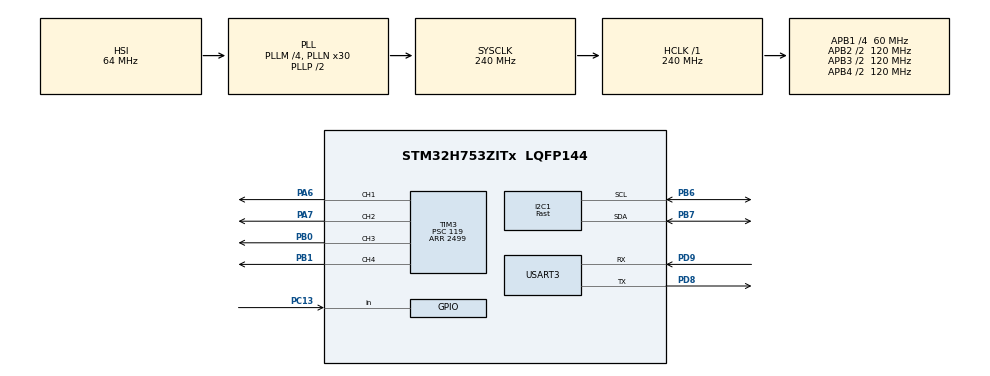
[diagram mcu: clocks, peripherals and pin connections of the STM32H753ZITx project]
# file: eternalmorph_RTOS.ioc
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CORTEX_M7.default_mode_Activation=1
Dma.I2C1_RX.0.Direction=DMA_PERIPH_TO_MEMORY
Dma.I2C1_RX.0.EventEnable=DISABLE
Dma.I2C1_RX.0.FIFOMode=DMA_FIFOMODE_DISABLE
Dma.I2C1_RX.0.Instance=DMA1_Stream0
Dma.I2C1_RX.0.MemDataAlignment=DMA_MDATAALIGN_BYTE
Dma.I2C1_RX.0.MemInc=DMA_MINC_ENABLE
Dma.I2C1_RX.0.Mode=DMA_NORMAL
Dma.I2C1_RX.0.PeriphDataAlignment=DMA_PDATAALIGN_BYTE
Dma.I2C1_RX.0.PeriphInc=DMA_PINC_DISABLE
Dma.I2C1_RX.0.Polarity=HAL_DMAMUX_REQ_GEN_RISING
Dma.I2C1_RX.0.Priority=DMA_PRIORITY_VERY_HIGH
Dma.I2C1_RX.0.RequestNumber=1
Dma.I2C1_RX.0.SignalID=NONE
Dma.I2C1_RX.0.SyncEnable=DISABLE
Dma.I2C1_RX.0.SyncPolarity=HAL_DMAMUX_SYNC_NO_EVENT
Dma.I2C1_RX.0.SyncRequestNumber=1
Dma.I2C1_RX.0.SyncSignalID=NONE
Dma.Request0=I2C1_RX
FREERTOS.Queues01=TelemetryQueue,32,uint16_t,0,Dynamic,NULL,NULL
FREERTOS.Tasks01=FlightTask,48,1024,StartFlightTask,Default,NULL,Dynamic,NULL,NULL;TelemetryTask,16,512,StartTelemetryTask,Default,NULL,Dynamic,NULL,NULL
FREERTOS.configTOTAL_HEAP_SIZE=65536
FREERTOS.configUSE_NEWLIB_REENTRANT=1
I2C1.I2C_Speed_Mode=I2C_Fast
I2C1.Timing=0x00501E6C
Mcu.Family=STM32H7
Mcu.Name=STM32H753ZITx
Mcu.Package=LQFP144
NVIC.DMA1_Stream0_IRQn=true\:5\:0\:false\:false\:true\:true\:false\:true\:true
NVIC.I2C1_ER_IRQn=true\:5\:0\:false\:false\:true\:true\:true\:true\:true
NVIC.I2C1_EV_IRQn=true\:5\:0\:false\:false\:true\:true\:true\:true\:true
NVIC.PriorityGroup=NVIC_PRIORITYGROUP_4
NVIC.TIM6_DAC_IRQn=true\:5\:0\:false\:false\:true\:true\:true\:true\:true
NVIC.TIM7_IRQn=true\:15\:0\:false\:false\:true\:false\:false\:true\:true
NVIC.TimeBase=TIM7_IRQn
NVIC.TimeBaseIP=TIM7
PA6.Signal=S_TIM3_CH1
PA7.Signal=S_TIM3_CH2
PB0.Signal=S_TIM3_CH3
PB1.Signal=S_TIM3_CH4
PB6.Mode=I2C
PB6.Signal=I2C1_SCL
PB7.Mode=I2C
PB7.Signal=I2C1_SDA
PC13.Signal=GPIO_Input
PD8.Mode=Asynchronous
PD8.Signal=USART3_TX
PD9.Mode=Asynchronous
PD9.Signal=USART3_RX
ProjectManager.HeapSize=0x200
ProjectManager.StackSize=0x400
ProjectManager.TargetToolchain=STM32CubeIDE
RCC.ADCFreq_Value=129000000
RCC.APB1Freq_Value=60000000
RCC.APB2Freq_Value=120000000
RCC.APB3Freq_Value=120000000
RCC.APB4Freq_Value=120000000
RCC.CortexFreq_Value=240000000
RCC.D1PPRE=RCC_APB3_DIV2
RCC.D2PPRE1=RCC_APB1_DIV4
RCC.D2PPRE2=RCC_APB2_DIV2
RCC.D3PPRE=RCC_APB4_DIV2
RCC.DIVM1=4
RCC.DIVN1=30
RCC.HCLKFreq_Value=240000000
RCC.PLL2FRACN=0
RCC.PLL3FRACN=0
RCC.PLLFRACN=0
RCC.SYSCLKFreq_VALUE=240000000
RCC.SYSCLKSource=RCC_SYSCLKSOURCE_PLLCLK
RCC.USBFreq_Value=240000000
SH.S_TIM3_CH1.0=TIM3_CH1,PWM Generation1 CH1
SH.S_TIM3_CH2.0=TIM3_CH2,PWM Generation2 CH2
SH.S_TIM3_CH3.0=TIM3_CH3,PWM Generation3 CH3
SH.S_TIM3_CH4.0=TIM3_CH4,PWM Generation4 CH4
TIM3.AutoReloadPreload=TIM_AUTORELOAD_PRELOAD_ENABLE
TIM3.Channel-PWM\ Generation1\ CH1=TIM_CHANNEL_1
TIM3.Channel-PWM\ Generation2\ CH2=TIM_CHANNEL_2
TIM3.Channel-PWM\ Generation3\ CH3=TIM_CHANNEL_3
TIM3.Channel-PWM\ Generation4\ CH4=TIM_CHANNEL_4
TIM3.Period=2499
TIM3.Prescaler=119
TIM6.AutoReloadPreload=TIM_AUTORELOAD_PRELOAD_ENABLE
TIM6.Period=999
TIM6.Prescaler=119
USART3.VirtualMode-Asynchronous=VM_ASYNC
VP_FREERTOS_VS_CMSIS_V2.Mode=CMSIS_V2
VP_SYS_VS_tim7.Mode=TIM7
VP_TIM3_VS_ClockSourceINT.Mode=Internal
VP_TIM6_VS_ClockSourceINT.Mode=Enable_Timer
board=custom

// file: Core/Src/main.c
/* USER CODE BEGIN Header */
/**
  ******************************************************************************
  * @file           : main.c
  * @brief          : Main program body
  ******************************************************************************
  * @attention
  *
  * Copyright (c) 2026 STMicroelectronics.
  * All rights reserved.
  *
  * This software is licensed under terms that can be found in the LICENSE file
  * in the root directory of this software component.
  * If no LICENSE file comes with this software, it is provided AS-IS.
  *
  ******************************************************************************
  */
/* USER CODE END Header */
#include "main.h"
#include "cmsis_os.h"

/* USER CODE BEGIN Includes */
#include "mpu6050.h"
#include "madgwick.h"
#include "pid.h"
#include "lowpass.h"
#include "mixer.h"
#include "state_machine.h"
#include <stdio.h>
#include <string.h>
#include "FreeRTOS.h"
#include "queue.h"
#include "task.h"
/* USER CODE END Includes */

/* USER CODE BEGIN PTD */
typedef struct{
	float roll;
	float pitch;
	uint16_t m1, m2, m3, m4;
	uint32_t cycle_time;
}TelemetryData_t;
/* USER CODE END PTD */

I2C_HandleTypeDef hi2c1;
DMA_HandleTypeDef hdma_i2c1_rx;

TIM_HandleTypeDef htim3;
TIM_HandleTypeDef htim6;

UART_HandleTypeDef huart3;

/* Definitions for FlightTask */
osThreadId_t FlightTaskHandle;
const osThreadAttr_t FlightTask_attributes = {
  .name = "FlightTask",
  .stack_size = 1024 * 4,
  .priority = (osPriority_t) osPriorityRealtime,
};
/* Definitions for TelemetryTask */
osThreadId_t TelemetryTaskHandle;
const osThreadAttr_t TelemetryTask_attributes = {
  .name = "TelemetryTask",
  .stack_size = 512 * 4,
  .priority = (osPriority_t) osPriorityBelowNormal,
};
/* Definitions for TelemetryQueue */
osMessageQueueId_t TelemetryQueueHandle;
const osMessageQueueAttr_t TelemetryQueue_attributes = {
  .name = "TelemetryQueue"
};
/* USER CODE BEGIN PV */
MPU6050_t mpu_data;          // Sensördeki tüm verileri tutacak çantamız
quaternion madgwick_data;
uint32_t loop_timer = 0;     // 250Hz kontrol döngüsü için kronometre
uint32_t telemetry_timer = 0;// 10Hz veri gönderimi için kronometre
float dt = 0.001f;             // Geçen süre (Delta Time)
char tx_buffer[128];         // Ekrana yazdıracağımız metin kutusu
uint32_t cycle_time;

volatile uint8_t imu_flag = 0; //bu değişkeni her seferinde RAM'den oku, aklında tutma, çünkü benim haberim olmadan değişebilir

PID_t pid_angle_roll; 		//Outer loop
PID_t pid_rate_roll; 		//Inner loop
float target_rate_roll = 0.0f; 		//Outer loop output
float roll_output = 0.0f; 		//Inner loop output

PID_t pid_angle_pitch; 		//Outer loop
PID_t pid_rate_pitch; 		//Inner loop
float target_rate_pitch = 0.0f; 	//Outer loop output
float pitch_output = 0.0f; 		//Inner loop output

PID_t pid_rate_yaw;
float target_rate_yaw = 0.0f;
float yaw_output = 0.0f;

LowPass_t lpf_gyro_x;
LowPass_t lpf_gyro_y;
LowPass_t lpf_gyro_z;
float gyro_x_filt = 0.0f;
float gyro_y_filt = 0.0f;
float gyro_z_filt = 0.0f;

Motor_Output_t motor_outputs;
RobotModel_t current_mode = MODE_AIR;					// Test mode: Air Mode
uint8_t is_armed = 1;									// Test mode: Motor lock disabled
float test_throttle = 1500.0f;							// Test mode: 50% throttle

FlightState_t state;
uint8_t btn_prev = GPIO_PIN_RESET;
/* USER CODE END PV */

void SystemClock_Config(void);
static void MPU_Config(void);
static void MX_GPIO_Init(void);
static void MX_DMA_Init(void);
static void MX_TIM6_Init(void);
static void MX_I2C1_Init(void);
static void MX_USART3_UART_Init(void);
static void MX_TIM3_Init(void);
void StartFlightTask(void *argument);
void StartTelemetryTask(void *argument);

/* USER CODE BEGIN 0 */
void DWT_Init(){
	CoreDebug->DEMCR |= CoreDebug_DEMCR_TRCENA_Msk;
	DWT->CYCCNT = 0;
	DWT->CTRL |= DWT_CTRL_CYCCNTENA_Msk;
}
/* USER CODE END 0 */

int main(void)
{

  /* MPU Configuration--------------------------------------------------------*/
  MPU_Config();

  /* MCU Configuration--------------------------------------------------------*/

  /* Reset of all peripherals, Initializes the Flash interface and the Systick. */
  HAL_Init();

  /* Configure the system clock */
  SystemClock_Config();

  /* Initialize all configured peripherals */
  MX_GPIO_Init();
  MX_DMA_Init();
  MX_TIM6_Init();
  MX_I2C1_Init();
  MX_USART3_UART_Init();
  MX_TIM3_Init();
  /* USER CODE BEGIN 2 */
  DWT_Init();
  if (MPU6050_Init(&hi2c1) == 1) {
        char *msg = "Sensör Basariyla Uyandirildi!\r\n";
        HAL_UART_Transmit(&huart3, (uint8_t*)msg, strlen(msg), 100);
    } else {
        char *msg = "HATA: Sensör Bulunamadi!\r\n";
        HAL_UART_Transmit(&huart3, (uint8_t*)msg, strlen(msg), 100);
        while(1){
        	//LED BLINK
        }
    }
  MPU6050_Calibrate_Gyro(&hi2c1, &mpu_data);
  telemetry_timer = HAL_GetTick();							//Hal delay kullanmamak icin

  PID_Init(&pid_angle_roll, 4.0f, 0.0f, 0.0f, -300.0f, 300.0f, 0.0f);
  PID_Init(&pid_angle_pitch, 4.0f, 0.0f, 0.0f, -300.0f, 300.0f, 0.0f);

  PID_Init(&pid_rate_roll, 0.7f, 0.3f, 0.02f, -100.0f, 100.0f, 30.0f);
  PID_Init(&pid_rate_pitch, 0.7f, 0.3f, 0.02f, -100.0f, 100.0f, 30.0f);

  PID_Init(&pid_rate_yaw, 2.0f, 0.5f, 0.0f, -100.0f, 100.0f, 30.0f);

  LowPass_Init(&lpf_gyro_x, 90.0f, 1000.0f);
  LowPass_Init(&lpf_gyro_y, 90.0f, 1000.0f);
  LowPass_Init(&lpf_gyro_z, 90.0f, 1000.0f);

  Mixer_Init(&motor_outputs);

  HAL_TIM_PWM_Start(&htim3, TIM_CHANNEL_1);
  HAL_TIM_PWM_Start(&htim3, TIM_CHANNEL_2);
  HAL_TIM_PWM_Start(&htim3, TIM_CHANNEL_3);
  HAL_TIM_PWM_Start(&htim3, TIM_CHANNEL_4);

  State_Init(&state, 60.0f, 50, 10);
  State_Arm(&state);

  Madgwick_Init(&madgwick_data, 0.04f);
  HAL_TIM_Base_Start_IT(&htim6);
  /* USER CODE END 2 */

  /* Init scheduler */
  osKernelInitialize();

  /* Create the queue(s) */
  /* creation of TelemetryQueue */
  TelemetryQueueHandle = osMessageQueueNew (1, sizeof(TelemetryData_t), &TelemetryQueue_attributes);

  /* Create the thread(s) */
  /* creation of FlightTask */
  FlightTaskHandle = osThreadNew(StartFlightTask, NULL, &FlightTask_attributes);

  /* creation of TelemetryTask */
  TelemetryTaskHandle = osThreadNew(StartTelemetryTask, NULL, &TelemetryTask_attributes);

  /* Start scheduler */
  osKernelStart();

  /* We should never get here as control is now taken by the scheduler */

  /* Infinite loop */
  while (1)
  {

  }
}

void SystemClock_Config(void)
{
  RCC_OscInitTypeDef RCC_OscInitStruct = {0};
  RCC_ClkInitTypeDef RCC_ClkInitStruct = {0};

  /** Supply configuration update enable
  */
  HAL_PWREx_ConfigSupply(PWR_LDO_SUPPLY);

  /** Configure the main internal regulator output voltage
  */
  __HAL_PWR_VOLTAGESCALING_CONFIG(PWR_REGULATOR_VOLTAGE_SCALE2);

  while(!__HAL_PWR_GET_FLAG(PWR_FLAG_VOSRDY)) {}

  /** Initializes the RCC Oscillators according to the specified parameters
  * in the RCC_OscInitTypeDef structure.
  */
  RCC_OscInitStruct.OscillatorType = RCC_OSCILLATORTYPE_HSI;
  RCC_OscInitStruct.HSIState = RCC_HSI_DIV1;
  RCC_OscInitStruct.HSICalibrationValue = RCC_HSICALIBRATION_DEFAULT;
  RCC_OscInitStruct.PLL.PLLState = RCC_PLL_ON;
  RCC_OscInitStruct.PLL.PLLSource = RCC_PLLSOURCE_HSI;
  RCC_OscInitStruct.PLL.PLLM = 4;
  RCC_OscInitStruct.PLL.PLLN = 30;
  RCC_OscInitStruct.PLL.PLLP = 2;
  RCC_OscInitStruct.PLL.PLLQ = 2;
  RCC_OscInitStruct.PLL.PLLR = 2;
  RCC_OscInitStruct.PLL.PLLRGE = RCC_PLL1VCIRANGE_3;
  RCC_OscInitStruct.PLL.PLLVCOSEL = RCC_PLL1VCOWIDE;
  RCC_OscInitStruct.PLL.PLLFRACN = 0;
  if (HAL_RCC_OscConfig(&RCC_OscInitStruct) != HAL_OK)
  {
    Error_Handler();
  }

  /** Initializes the CPU, AHB and APB buses clocks
  */
  RCC_ClkInitStruct.ClockType = RCC_CLOCKTYPE_HCLK|RCC_CLOCKTYPE_SYSCLK
                              |RCC_CLOCKTYPE_PCLK1|RCC_CLOCKTYPE_PCLK2
                              |RCC_CLOCKTYPE_D3PCLK1|RCC_CLOCKTYPE_D1PCLK1;
  RCC_ClkInitStruct.SYSCLKSource = RCC_SYSCLKSOURCE_PLLCLK;
  RCC_ClkInitStruct.SYSCLKDivider = RCC_SYSCLK_DIV1;
  RCC_ClkInitStruct.AHBCLKDivider = RCC_HCLK_DIV1;
  RCC_ClkInitStruct.APB3CLKDivider = RCC_APB3_DIV2;
  RCC_ClkInitStruct.APB1CLKDivider = RCC_APB1_DIV4;
  RCC_ClkInitStruct.APB2CLKDivider = RCC_APB2_DIV2;
  RCC_ClkInitStruct.APB4CLKDivider = RCC_APB4_DIV2;

  if (HAL_RCC_ClockConfig(&RCC_ClkInitStruct, FLASH_LATENCY_2) != HAL_OK)
  {
    Error_Handler();
  }
}

static void MX_I2C1_Init(void)
{

  hi2c1.Instance = I2C1;
  hi2c1.Init.Timing = 0x00501E6C;
  hi2c1.Init.OwnAddress1 = 0;
  hi2c1.Init.AddressingMode = I2C_ADDRESSINGMODE_7BIT;
  hi2c1.Init.DualAddressMode = I2C_DUALADDRESS_DISABLE;
  hi2c1.Init.OwnAddress2 = 0;
  hi2c1.Init.OwnAddress2Masks = I2C_OA2_NOMASK;
  hi2c1.Init.GeneralCallMode = I2C_GENERALCALL_DISABLE;
  hi2c1.Init.NoStretchMode = I2C_NOSTRETCH_DISABLE;
  if (HAL_I2C_Init(&hi2c1) != HAL_OK)
  {
    Error_Handler();
  }

  /** Configure Analogue filter
  */
  if (HAL_I2CEx_ConfigAnalogFilter(&hi2c1, I2C_ANALOGFILTER_ENABLE) != HAL_OK)
  {
    Error_Handler();
  }

  /** Configure Digital filter
  */
  if (HAL_I2CEx_ConfigDigitalFilter(&hi2c1, 0) != HAL_OK)
  {
    Error_Handler();
  }

}

static void MX_TIM3_Init(void)
{

  TIM_ClockConfigTypeDef sClockSourceConfig = {0};
  TIM_MasterConfigTypeDef sMasterConfig = {0};
  TIM_OC_InitTypeDef sConfigOC = {0};

  htim3.Instance = TIM3;
  htim3.Init.Prescaler = 119;
  htim3.Init.CounterMode = TIM_COUNTERMODE_UP;
  htim3.Init.Period = 2499;
  htim3.Init.ClockDivision = TIM_CLOCKDIVISION_DIV1;
  htim3.Init.AutoReloadPreload = TIM_AUTORELOAD_PRELOAD_ENABLE;
  if (HAL_TIM_Base_Init(&htim3) != HAL_OK)
  {
    Error_Handler();
  }
  sClockSourceConfig.ClockSource = TIM_CLOCKSOURCE_INTERNAL;
  if (HAL_TIM_ConfigClockSource(&htim3, &sClockSourceConfig) != HAL_OK)
  {
    Error_Handler();
  }
  if (HAL_TIM_PWM_Init(&htim3) != HAL_OK)
  {
    Error_Handler();
  }
  sMasterConfig.MasterOutputTrigger = TIM_TRGO_RESET;
  sMasterConfig.MasterSlaveMode = TIM_MASTERSLAVEMODE_DISABLE;
  if (HAL_TIMEx_MasterConfigSynchronization(&htim3, &sMasterConfig) != HAL_OK)
  {
    Error_Handler();
  }
  sConfigOC.OCMode = TIM_OCMODE_PWM1;
  sConfigOC.Pulse = 0;
  sConfigOC.OCPolarity = TIM_OCPOLARITY_HIGH;
  sConfigOC.OCFastMode = TIM_OCFAST_DISABLE;
  if (HAL_TIM_PWM_ConfigChannel(&htim3, &sConfigOC, TIM_CHANNEL_1) != HAL_OK)
  {
    Error_Handler();
  }
  if (HAL_TIM_PWM_ConfigChannel(&htim3, &sConfigOC, TIM_CHANNEL_2) != HAL_OK)
  {
    Error_Handler();
  }
  if (HAL_TIM_PWM_ConfigChannel(&htim3, &sConfigOC, TIM_CHANNEL_3) != HAL_OK)
  {
    Error_Handler();
  }
  if (HAL_TIM_PWM_ConfigChannel(&htim3, &sConfigOC, TIM_CHANNEL_4) != HAL_OK)
  {
    Error_Handler();
  }
  HAL_TIM_MspPostInit(&htim3);

}

static void MX_TIM6_Init(void)
{

  TIM_MasterConfigTypeDef sMasterConfig = {0};

  htim6.Instance = TIM6;
  htim6.Init.Prescaler = 119;
  htim6.Init.CounterMode = TIM_COUNTERMODE_UP;
  htim6.Init.Period = 999;
  htim6.Init.AutoReloadPreload = TIM_AUTORELOAD_PRELOAD_ENABLE;
  if (HAL_TIM_Base_Init(&htim6) != HAL_OK)
  {
    Error_Handler();
  }
  sMasterConfig.MasterOutputTrigger = TIM_TRGO_RESET;
  sMasterConfig.MasterSlaveMode = TIM_MASTERSLAVEMODE_DISABLE;
  if (HAL_TIMEx_MasterConfigSynchronization(&htim6, &sMasterConfig) != HAL_OK)
  {
    Error_Handler();
  }

}

static void MX_USART3_UART_Init(void)
{

  huart3.Instance = USART3;
  huart3.Init.BaudRate = 115200;
  huart3.Init.WordLength = UART_WORDLENGTH_8B;
  huart3.Init.StopBits = UART_STOPBITS_1;
  huart3.Init.Parity = UART_PARITY_NONE;
  huart3.Init.Mode = UART_MODE_TX_RX;
  huart3.Init.HwFlowCtl = UART_HWCONTROL_NONE;
  huart3.Init.OverSampling = UART_OVERSAMPLING_16;
  huart3.Init.OneBitSampling = UART_ONE_BIT_SAMPLE_DISABLE;
  huart3.Init.ClockPrescaler = UART_PRESCALER_DIV1;
  huart3.AdvancedInit.AdvFeatureInit = UART_ADVFEATURE_NO_INIT;
  if (HAL_UART_Init(&huart3) != HAL_OK)
  {
    Error_Handler();
  }
  if (HAL_UARTEx_SetTxFifoThreshold(&huart3, UART_TXFIFO_THRESHOLD_1_8) != HAL_OK)
  {
    Error_Handler();
  }
  if (HAL_UARTEx_SetRxFifoThreshold(&huart3, UART_RXFIFO_THRESHOLD_1_8) != HAL_OK)
  {
    Error_Handler();
  }
  if (HAL_UARTEx_DisableFifoMode(&huart3) != HAL_OK)
  {
    Error_Handler();
  }

}

static void MX_DMA_Init(void)
{

  /* DMA controller clock enable */
  __HAL_RCC_DMA1_CLK_ENABLE();

  /* DMA interrupt init */
  /* DMA1_Stream0_IRQn interrupt configuration */
  HAL_NVIC_SetPriority(DMA1_Stream0_IRQn, 5, 0);
  HAL_NVIC_EnableIRQ(DMA1_Stream0_IRQn);

}

static void MX_GPIO_Init(void)
{
  GPIO_InitTypeDef GPIO_InitStruct = {0};

  /* GPIO Ports Clock Enable */
  __HAL_RCC_GPIOC_CLK_ENABLE();
  __HAL_RCC_GPIOA_CLK_ENABLE();
  __HAL_RCC_GPIOB_CLK_ENABLE();
  __HAL_RCC_GPIOD_CLK_ENABLE();

  /*Configure GPIO pin : PC13 */
  GPIO_InitStruct.Pin = GPIO_PIN_13;
  GPIO_InitStruct.Mode = GPIO_MODE_INPUT;
  GPIO_InitStruct.Pull = GPIO_NOPULL;
  HAL_GPIO_Init(GPIOC, &GPIO_InitStruct);

}

/* USER CODE BEGIN 4 */
extern uint8_t mpu_rx_buffer[32];
void HAL_I2C_MemRxCpltCallback(I2C_HandleTypeDef *hi2c){					//I2C Hafıza Okuma İşlemi Tamamlandı Fonksiyonu
	if(hi2c->Instance == I2C1){												// Gelen kargo I2C1'e (MPU6050) mi ait?
		SCB_InvalidateDCache_by_Addr((uint32_t*)mpu_rx_buffer, 32);   		//DCache (eski veriyi sil)
		MPU6050_Process_DMA_Data(&mpu_data);

		//FlightTask

		BaseType_t xHigherPriorityTaskWoken = pdFALSE;						// Yüksek öncelikli görev uyandı mı
		vTaskNotifyGiveFromISR(FlightTaskHandle,&xHigherPriorityTaskWoken);	// FlightTask'a bildirim ver (zile bas), bayrağı güncelle
		portYIELD_FROM_ISR(xHigherPriorityTaskWoken);						// Eski işe dönme, kesmeden çıkar çıkmaz anında FlightTask'a geç!
	}
}

void HAL_I2C_ErrorCallback(I2C_HandleTypeDef *hi2c) {
    if (hi2c->Instance == I2C1) {
        // Hattın kilitlendiğini anlarsak I2C'yi kapatıp yeniden kuruyoruz
        HAL_I2C_DeInit(hi2c);
        MX_I2C1_Init();
    }
}
/* USER CODE END 4 */

void StartFlightTask(void *argument)
{
  /* USER CODE BEGIN 5 */
	uint32_t last_dwt_time = DWT->CYCCNT;
  /* Infinite loop */
  for(;;)
  {
    ulTaskNotifyTake(pdTRUE, portMAX_DELAY);						//Veri gelene kadar uyu

    state.last_imu_tick = HAL_GetTick();

    uint32_t current_dwt_time = DWT->CYCCNT;
    dt = (float)(current_dwt_time - last_dwt_time) / (float)SystemCoreClock; // MHz işlemciye göre saniye cinsinden süre
    last_dwt_time = current_dwt_time;

    // İlk cycle'da dt boot süresini kapsıyor olabilir, clamp et
    if(dt > 0.01f) dt = 0.001f;   // Max 10ms, aksi halde 1ms varsay

    uint32_t dwt_start = DWT->CYCCNT;
    float deg_to_rad = 3.14159265f / 180.0f;

    gyro_x_filt = LowPass_Update(&lpf_gyro_x, mpu_data.gyro_x_dps);
    gyro_y_filt = LowPass_Update(&lpf_gyro_y, mpu_data.gyro_y_dps);
    gyro_z_filt = LowPass_Update(&lpf_gyro_z, mpu_data.gyro_z_dps);

    Madgwick_Update(&madgwick_data,
    	          mpu_data.gyro_x_dps * deg_to_rad,
    	          mpu_data.gyro_y_dps * deg_to_rad,
    	          mpu_data.gyro_z_dps * deg_to_rad,
    	          mpu_data.accel_x_g,
    	          mpu_data.accel_y_g,
    	          mpu_data.accel_z_g,
    	          dt);

    State_Update(&state, madgwick_data.roll, madgwick_data.pitch, dt);

    if(state.mode == STATE_ARMED){
    	      target_rate_roll = PID_Update(&pid_angle_roll, 0.0F, madgwick_data.roll, dt);
    	      roll_output = PID_Update(&pid_rate_roll, target_rate_roll, gyro_x_filt, dt);

    	      target_rate_pitch = PID_Update(&pid_angle_pitch, 0.0f, madgwick_data.pitch, dt);
    	      pitch_output = PID_Update(&pid_rate_pitch, target_rate_pitch, gyro_y_filt, dt);

    	      yaw_output = PID_Update(&pid_rate_yaw, target_rate_yaw, gyro_z_filt, dt);

    	      Mixer_Update(&motor_outputs, current_mode, test_throttle, roll_output, pitch_output, yaw_output, is_armed);

    	      __HAL_TIM_SET_COMPARE(&htim3 , TIM_CHANNEL_1 , motor_outputs.m1);
    	      __HAL_TIM_SET_COMPARE(&htim3 , TIM_CHANNEL_2 , motor_outputs.m2);
    	      __HAL_TIM_SET_COMPARE(&htim3 , TIM_CHANNEL_3 , motor_outputs.m3);
    	      __HAL_TIM_SET_COMPARE(&htim3 , TIM_CHANNEL_4 , motor_outputs.m4);
    	      }
    	      else{
    	    	  __HAL_TIM_SET_COMPARE(&htim3 , TIM_CHANNEL_1 , 1000);
    	    	  __HAL_TIM_SET_COMPARE(&htim3 , TIM_CHANNEL_2 , 1000);
    	    	  __HAL_TIM_SET_COMPARE(&htim3 , TIM_CHANNEL_3 , 1000);
    	    	  __HAL_TIM_SET_COMPARE(&htim3 , TIM_CHANNEL_4 , 1000);

    	    	  // PID integral birikimini sıfırla
    	    	  PID_Reset(&pid_angle_roll);
    	    	  PID_Reset(&pid_angle_pitch);
    	    	  PID_Reset(&pid_rate_roll);
    	    	  PID_Reset(&pid_rate_pitch);
    	    	  PID_Reset(&pid_rate_yaw);
    	    	  // Mixeri sıfırla
    	    	  Mixer_Init(&motor_outputs);

    }

    uint32_t dwt_finish = DWT->CYCCNT;
    cycle_time =(dwt_finish - dwt_start) / (SystemCoreClock / 1000000UL);

    TelemetryData_t t_data;

    t_data.roll = madgwick_data.roll;
    t_data.pitch = madgwick_data.pitch;
    t_data.m1 = motor_outputs.m1;
    t_data.m2 = motor_outputs.m2;
    t_data.m3 = motor_outputs.m3;
    t_data.m4 = motor_outputs.m4;
    t_data.cycle_time = cycle_time;

    xQueueOverwrite(TelemetryQueueHandle,&t_data);
  }
  /* USER CODE END 5 */
}

void StartTelemetryTask(void *argument)
{
  /* USER CODE BEGIN StartTelemetryTask */
  TickType_t xLastWakeTime = xTaskGetTickCount();
  /* Infinite loop */
  for(;;)
  {
    vTaskDelayUntil(&xLastWakeTime, pdMS_TO_TICKS(100));

    TelemetryData_t rx_data;

    if(xQueueReceive(TelemetryQueueHandle, &rx_data, 0) == pdPASS){
    	sprintf(tx_buffer, "R:%.1f | P:%.1f | M1:%u | M2:%u | M3:%u | M4:%u | CT:%lu us\r\n",
    	        rx_data.roll, rx_data.pitch,
    	        rx_data.m1, rx_data.m2, rx_data.m3, rx_data.m4,
    	        rx_data.cycle_time);

    	HAL_UART_Transmit(&huart3, (uint8_t*)tx_buffer, strlen(tx_buffer),10);
    	}
    }
  }
  /* USER CODE END StartTelemetryTask */

 /* MPU Configuration */

void MPU_Config(void)
{
  MPU_Region_InitTypeDef MPU_InitStruct = {0};

  /* Disables the MPU */
  HAL_MPU_Disable();

  /** Initializes and configures the Region and the memory to be protected
  */
  MPU_InitStruct.Enable = MPU_REGION_ENABLE;
  MPU_InitStruct.Number = MPU_REGION_NUMBER0;
  MPU_InitStruct.BaseAddress = 0x0;
  MPU_InitStruct.Size = MPU_REGION_SIZE_4GB;
  MPU_InitStruct.SubRegionDisable = 0x87;
  MPU_InitStruct.TypeExtField = MPU_TEX_LEVEL0;
  MPU_InitStruct.AccessPermission = MPU_REGION_NO_ACCESS;
  MPU_InitStruct.DisableExec = MPU_INSTRUCTION_ACCESS_DISABLE;
  MPU_InitStruct.IsShareable = MPU_ACCESS_SHAREABLE;
  MPU_InitStruct.IsCacheable = MPU_ACCESS_NOT_CACHEABLE;
  MPU_InitStruct.IsBufferable = MPU_ACCESS_NOT_BUFFERABLE;

  HAL_MPU_ConfigRegion(&MPU_InitStruct);
  /* Enables the MPU */
  HAL_MPU_Enable(MPU_PRIVILEGED_DEFAULT);

}

void HAL_TIM_PeriodElapsedCallback(TIM_HandleTypeDef *htim)
{
  /* USER CODE BEGIN Callback 0 */
  if(htim->Instance == TIM6){
	  if(HAL_I2C_GetState(&hi2c1) == HAL_I2C_STATE_READY){
		  MPU6050_Read_All_DMA(&hi2c1); // timer tetiklendiginde hat dolu değilse veri oku
	  }
  }
  /* USER CODE END Callback 0 */
  if (htim->Instance == TIM7) {
    HAL_IncTick();
  }
}

void Error_Handler(void)
{
  __disable_irq();
  while (1)
  {
  }
}
